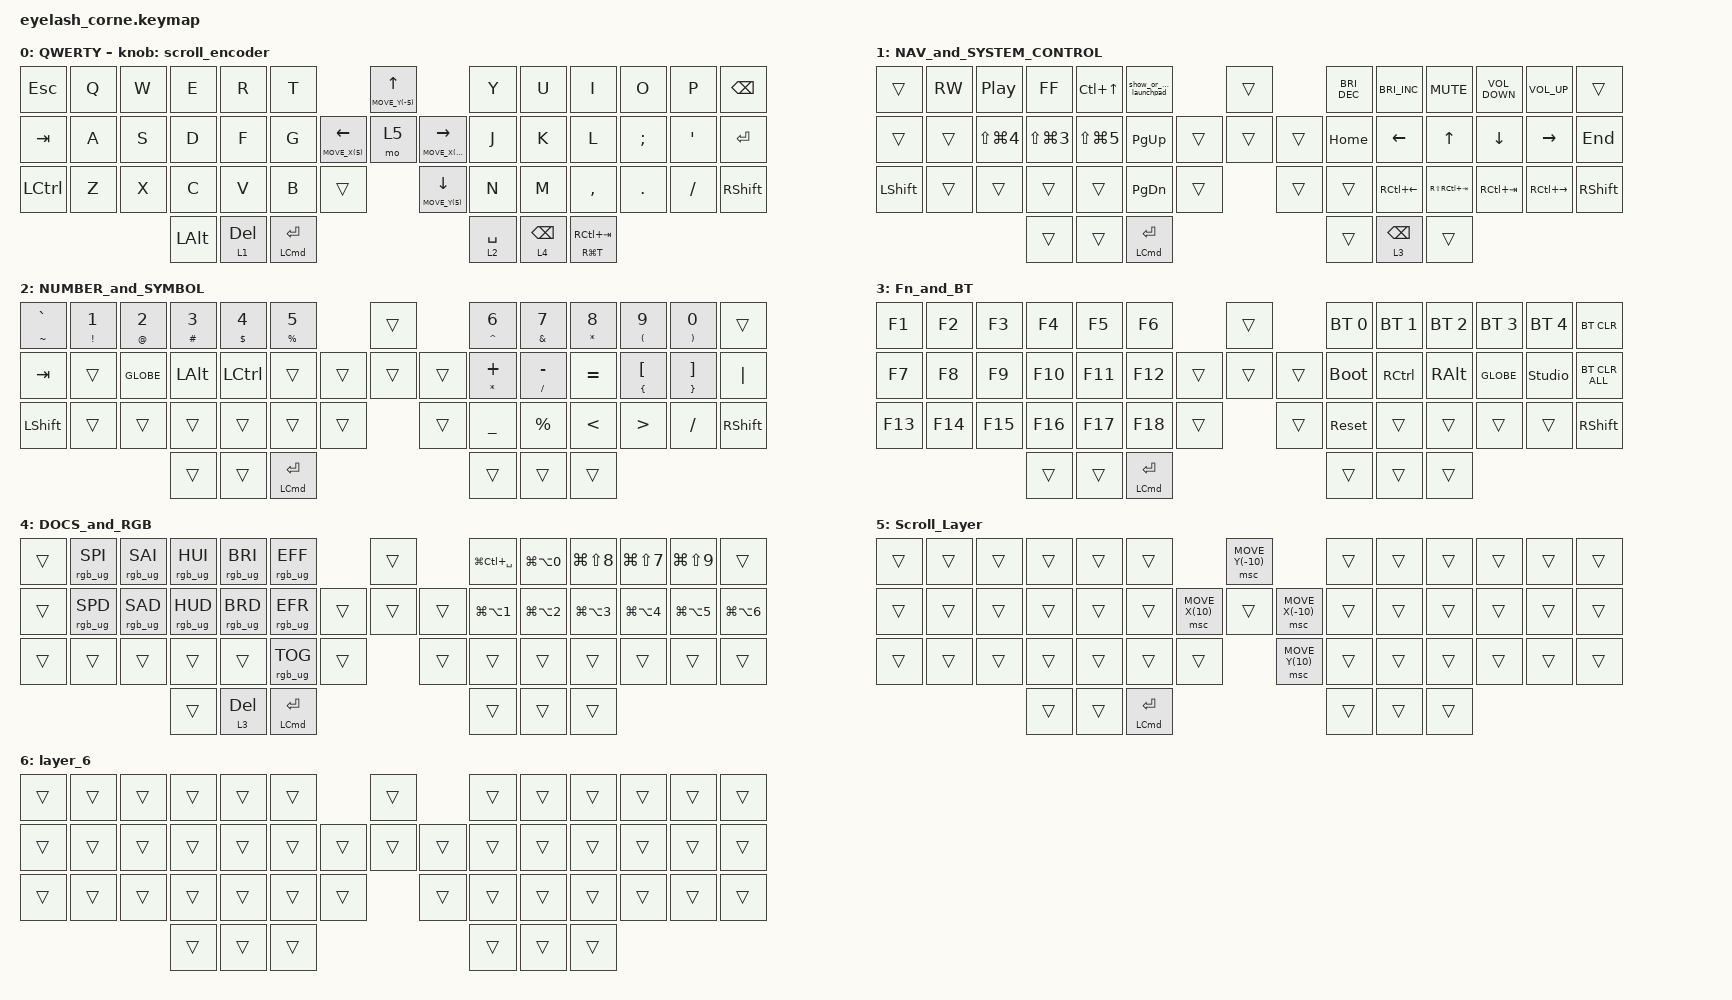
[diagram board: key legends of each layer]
#define ZMK_POINTING_DEFAULT_MOVE_VAL 1200  // 600
#define ZMK_POINTING_DEFAULT_SCRL_VAL 25   // 10

#include <input/processors.dtsi>
#include <zephyr/dt-bindings/input/input-event-codes.h>
#include <behaviors.dtsi>
#include <dt-bindings/zmk/bt.h>
#include <dt-bindings/zmk/keys.h>
#include <dt-bindings/zmk/pointing.h>
#include <dt-bindings/zmk/rgb.h>

&mmv_input_listener { input-processors = <&zip_xy_scaler 2 1>; };

&msc_input_listener { input-processors = <&zip_scroll_scaler 2 1>; };

&msc {
    acceleration-exponent = <1>;      // 0
    time-to-max-speed-ms = <100>;       // 300
    delay-ms = <0>;                   // 0
};

&mmv {
    time-to-max-speed-ms = <500>;
    acceleration-exponent = <1>;
    trigger-period-ms = <16>;
};

/ {
    behaviors {
        Control_Mod_L: Control_Mod_L {
            compatible = "zmk,behavior-hold-tap";
            label = "CONTROL_MOD_L";
            bindings = <&kp>, <&kp>;

            #binding-cells = <2>;
            tapping-term-ms = <200>;
            quick-tap-ms = <175>;
            flavor = "tap-preferred";
            hold-trigger-key-positions = <42 43 44 45 46 47 7 8 9 10 11 12 22 23 24 25 26 27 36 37 38 39 40 41 45 46 47>;
            hold-trigger-on-release;
        };

        Control_Mod_R: Control_Mod_R {
            compatible = "zmk,behavior-hold-tap";
            label = "CONTROL_MOD_R";
            bindings = <&kp>, <&kp>;

            #binding-cells = <2>;
            tapping-term-ms = <300>;
            quick-tap-ms = <175>;
            flavor = "tap-preferred";
            hold-trigger-key-positions = <42 43 44 45 46 47 45 46 47 0 1 2 3 4 5 13 14 15 16 17 18 28 29 30 31 32 33 28 29 30 31 32 33>;
            hold-trigger-on-release;
        };

        Shift_Caps_Word: Shift_Caps_Word {
            compatible = "zmk,behavior-tap-dance";
            label = "SHIFT_CAPS_WORD";
            #binding-cells = <0>;
            bindings = <&sk LEFT_SHIFT>, <&caps_word>;

            tapping-term-ms = <200>;
        };

        arrow_scroll: arrow_scroll {
            compatible = "zmk,behavior-hold-tap";
            label = "ARROW_SCROLL";
            bindings = <&msc>, <&kp>;

            #binding-cells = <2>;
            tapping-term-ms = <200>;
            flavor = "tap-preferred";
        };

        Contro_Mod_Universal: Contro_Mod_Universal {
            compatible = "zmk,behavior-hold-tap";
            label = "CONTRO_MOD_UNIVERSAL";
            bindings = <&kp>, <&kp>;

            #binding-cells = <2>;
            tapping-term-ms = <200>;
            quick-tap-ms = <175>;
            flavor = "tap-preferred";
        };

        scroll_encoder: scroll_encoder {
            compatible = "zmk,behavior-sensor-rotate";
            label = "SCROLL_ENCODER";
            #sensor-binding-cells = <0>;
            bindings = <&msc SCRL_UP>, <&msc SCRL_DOWN>;
        };

        rgb_encoder: rgb_encoder {
            compatible = "zmk,behavior-sensor-rotate";
            label = "RGB_ENCODER";
            #sensor-binding-cells = <0>;
            bindings = <&rgb_ug RGB_BRI>, <&rgb_ug RGB_BRD>;
        };

        horizontal_scroll_encoder: horizontal_scroll_encoder {
            compatible = "zmk,behavior-sensor-rotate";
            label = "HORIZONTAL_SCROLL_ENCODER";
            #sensor-binding-cells = <0>;
            bindings = <&msc MOVE_X(5)>, <&msc MOVE_X(-5)>;
        };
    };

    combos {
        compatible = "zmk,combos";

        Volume_Up {
            bindings = <&kp C_VOLUME_UP>;
            key-positions = <46 47>;
        };

        Volume_Down {
            bindings = <&kp C_VOLUME_DOWN>;
            key-positions = <45 46>;
        };

        Mute {
            bindings = <&kp C_MUTE>;
            key-positions = <45 47>;
        };

        Brightness_Up {
            bindings = <&kp C_BRIGHTNESS_INC>;
            key-positions = <43 44>;
        };

        Brightness_Down {
            bindings = <&kp C_BRIGHTNESS_DEC>;
            key-positions = <42 43>;
        };
    };

    keymap {
        compatible = "zmk,keymap";

        default_layer {
            display-name = "QWERTY";
            bindings = <
&kp ESC    &kp Q  &kp W  &kp E         &kp R      &kp T                                                                              &arrow_scroll MOVE_Y(-5) UP                                   &kp Y        &kp U            &kp I              &kp O     &kp P     &kp BSPC
&kp TAB    &kp A  &kp S  &kp D         &kp F      &kp G                                                &arrow_scroll MOVE_X(5) LEFT  &mo 5                         &arrow_scroll MOVE_X(-5) RIGHT  &kp J        &kp K            &kp L              &kp SEMI  &kp SQT   &kp RET
&kp LCTRL  &kp Z  &kp X  &kp C         &kp V      &kp B                                      &trans                                  &arrow_scroll MOVE_Y(5) DOWN                                  &kp N        &kp M            &kp COMMA          &kp DOT   &kp FSLH  &kp RIGHT_SHIFT
                         &kp LEFT_ALT  &lt 1 DEL  &Contro_Mod_Universal LEFT_COMMAND RETURN                                                                                                        &lt 2 SPACE  &lt 4 BACKSPACE  &mt RG(T) RC(TAB)
            >;

            sensor-bindings = <&scroll_encoder>;
        };

        NAV_and_SYSTEM_CONTROL {
            display-name = "NAV_and_SYSTEM_CONTROL";
            bindings = <
&trans          &kp C_RW  &kp C_PP              &kp C_FF              &kp LC(UP_ARROW)      &show_or_hide_launchpad                                      &trans          &kp C_BRIGHTNESS_DEC  &kp C_BRIGHTNESS_INC  &kp C_MUTE       &kp C_VOLUME_DOWN  &kp C_VOLUME_UP  &trans
&trans          &trans    &kp LS(LG(NUMBER_4))  &kp LS(LG(NUMBER_3))  &kp LS(LG(NUMBER_5))  &kp PG_UP                                            &trans  &trans  &trans  &kp HOME              &kp LEFT              &kp UP           &kp DOWN           &kp RIGHT        &kp END
&kp LEFT_SHIFT  &trans    &trans                &trans                &trans                &kp PG_DN                                  &trans            &trans          &trans                &kp RC(LEFT)          &kp RS(RC(TAB))  &kp RC(TAB)        &kp RC(RIGHT)    &kp RIGHT_SHIFT
                                                &trans                &trans                &Contro_Mod_Universal LEFT_COMMAND RETURN                                    &trans                &lt 3 BACKSPACE       &trans
            >;
        };

        NUMBER_and_SYMBOL {
            display-name = "NUMBER_and_SYMBOL";
            bindings = <
&Control_Mod_L TILDE GRAVE  &Control_Mod_L EXCL NUMBER_1  &Control_Mod_L AT NUMBER_2  &Control_Mod_L HASH NUMBER_3  &Control_Mod_L DLLR NUMBER_4  &Control_Mod_L PRCNT NUMBER_5                                &trans          &Control_Mod_R CARET NUMBER_6  &Control_Mod_R AMPS NUMBER_7  &Control_Mod_R ASTRK NUMBER_8  &Control_Mod_R LPAR NUMBER_9            &Control_Mod_R RPAR NUMBER_0              &trans
&kp TAB                     &trans                        &kp GLOBE                   &kp LEFT_ALT                  &kp LEFT_CONTROL              &trans                                               &trans  &trans  &trans  &Control_Mod_R ASTRK PLUS      &Control_Mod_R SLASH MINUS    &kp EQUAL                      &Control_Mod_R LEFT_BRACE LEFT_BRACKET  &Control_Mod_R RIGHT_BRACE RIGHT_BRACKET  &kp PIPE
&kp LEFT_SHIFT              &trans                        &trans                      &trans                        &trans                        &trans                                     &trans            &trans          &kp UNDER                      &kp PERCENT                   &kp LESS_THAN                  &kp GREATER_THAN                        &kp SLASH                                 &kp RIGHT_SHIFT
                                                                                      &trans                        &trans                        &Contro_Mod_Universal LEFT_COMMAND RETURN                                    &trans                         &trans                        &trans
            >;
        };

        Fn_and_BT {
            display-name = "Fn_and_BT";
            bindings = <
&kp F1   &kp F2   &kp F3   &kp F4   &kp F5   &kp F6                                                       &trans          &bt BT_SEL 0  &bt BT_SEL 1       &bt BT_SEL 2   &bt BT_SEL 3  &bt BT_SEL 4    &bt BT_CLR
&kp F7   &kp F8   &kp F9   &kp F10  &kp F11  &kp F12                                              &trans  &trans  &trans  &bootloader   &kp RIGHT_CONTROL  &kp RIGHT_ALT  &kp GLOBE     &studio_unlock  &bt BT_CLR_ALL
&kp F13  &kp F14  &kp F15  &kp F16  &kp F17  &kp F18                                    &trans            &trans          &sys_reset    &trans             &trans         &trans        &trans          &kp RIGHT_SHIFT
                           &trans   &trans   &Contro_Mod_Universal LEFT_COMMAND RETURN                                    &trans        &trans             &trans
            >;
        };

        DOCS_and_RGB {
            bindings = <
&trans  &rgb_ug RGB_SPI  &rgb_ug RGB_SAI  &rgb_ug RGB_HUI  &rgb_ug RGB_BRI  &rgb_ug RGB_EFF                                              &trans          &kp LG(LC(SPACE))     &kp LG(LA(NUMBER_0))  &kp LG(LS(NUMBER_8))  &kp LG(LS(NUMBER_7))  &kp LG(LS(NUMBER_9))  &trans
&trans  &rgb_ug RGB_SPD  &rgb_ug RGB_SAD  &rgb_ug RGB_HUD  &rgb_ug RGB_BRD  &rgb_ug RGB_EFR                                      &trans  &trans  &trans  &kp LG(LA(NUMBER_1))  &kp LG(LA(NUMBER_2))  &kp LG(LA(NUMBER_3))  &kp LG(LA(NUMBER_4))  &kp LG(LA(NUMBER_5))  &kp LG(LA(NUMBER_6))
&trans  &trans           &trans           &trans           &trans           &rgb_ug RGB_TOG                            &trans            &trans          &trans                &trans                &trans                &trans                &trans                &trans
                                          &trans           &lt 3 DEL        &Contro_Mod_Universal LEFT_COMMAND RETURN                                    &trans                &trans                &trans
            >;

            label = "DOCS_and_RGB";
        };

        Scroll_Layer {
            bindings = <
&trans  &trans  &trans  &trans  &trans  &trans                                                                &msc MOVE_Y(-10)                    &trans  &trans  &trans  &trans  &trans  &trans
&trans  &trans  &trans  &trans  &trans  &trans                                               &msc MOVE_X(10)  &trans            &msc MOVE_X(-10)  &trans  &trans  &trans  &trans  &trans  &trans
&trans  &trans  &trans  &trans  &trans  &trans                                     &trans                     &msc MOVE_Y(10)                     &trans  &trans  &trans  &trans  &trans  &trans
                        &trans  &trans  &Contro_Mod_Universal LEFT_COMMAND RETURN                                                                 &trans  &trans  &trans
            >;

            label = "Scroll_Layer";
        };

        layer_6 {
            bindings = <
&trans  &trans  &trans  &trans  &trans  &trans                    &trans          &trans  &trans  &trans  &trans  &trans  &trans
&trans  &trans  &trans  &trans  &trans  &trans            &trans  &trans  &trans  &trans  &trans  &trans  &trans  &trans  &trans
&trans  &trans  &trans  &trans  &trans  &trans  &trans            &trans          &trans  &trans  &trans  &trans  &trans  &trans
                        &trans  &trans  &trans                                    &trans  &trans  &trans
            >;
        };
    };

    conditional_layers { compatible = "zmk,conditional-layers"; };
};
